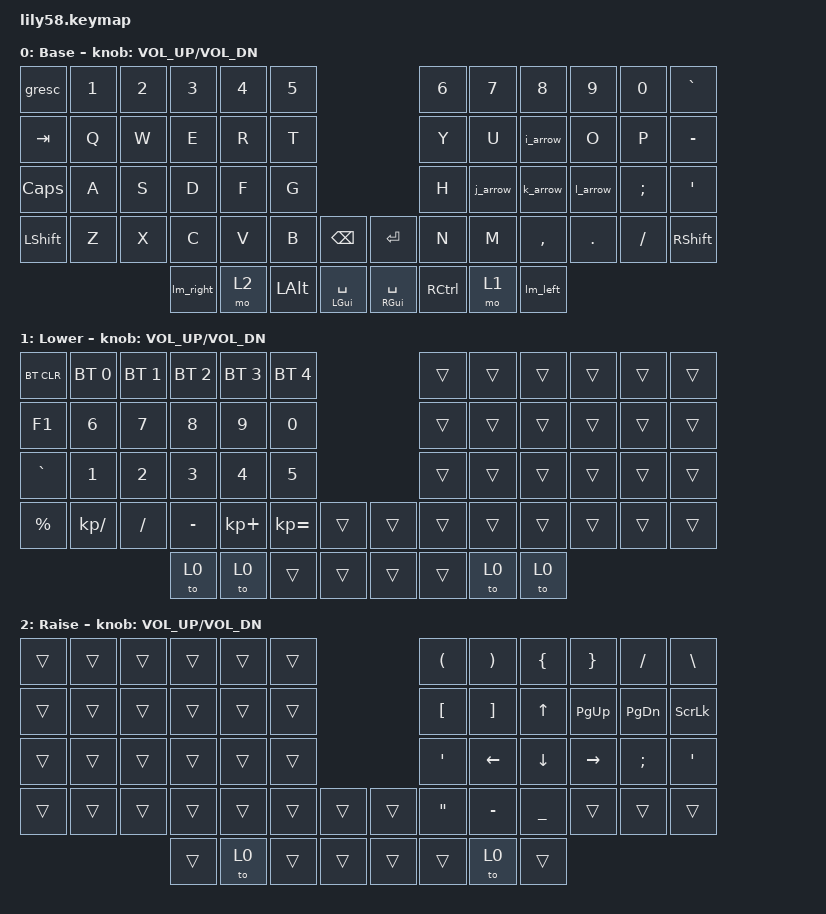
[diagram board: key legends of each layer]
/*
 * Copyright (c) 2020 The ZMK Contributors
 *
 * SPDX-License-Identifier: MIT
 */

#include <behaviors.dtsi>
#include <dt-bindings/zmk/keys.h>
#include <dt-bindings/zmk/bt.h>
#include <dt-bindings/zmk/ext_power.h>

/ {
    behaviors {
        mt_space_gui: mt_space_gui {
            compatible = "zmk,behavior-hold-tap";
            label = "mt_ space_gui";
            bindings = <&kp>, <&kp>;

            #binding-cells = <2>;
            tapping-term-ms = <150>;
            flavor = "tap-preferred";
        };

                j_arrow: behavior-mod-morph-j {
            compatible = "zmk,behavior-mod-morph";
            label = "MM_J_GUI_ALT";
            #binding-cells = <0>;
            mods       = <(MOD_LALT|MOD_LGUI | MOD_RCTL)>;
            keep-mods  = <(MOD_LALT|MOD_LGUI | MOD_RCTL)>;
            bindings   = <&kp J>, <&kp LEFT>;
        };
        k_arrow: behavior-mod-morph-k {
            compatible = "zmk,behavior-mod-morph";
            label = "MM_K_GUI_ALT";
            #binding-cells = <0>;
            mods       = <(MOD_LALT|MOD_LGUI | MOD_RCTL)>;
            keep-mods  = <(MOD_LALT|MOD_LGUI | MOD_RCTL)>;
            bindings   = <&kp K>, <&kp DOWN>;
        };
        l_arrow: behavior-mod-morph-l {
            compatible = "zmk,behavior-mod-morph";
            label = "MM_L_GUI_ALT";
            #binding-cells = <0>;
            mods       = <(MOD_LALT|MOD_LGUI | MOD_RCTL)>;
            keep-mods  = <(MOD_LALT|MOD_LGUI | MOD_RCTL)>;
            bindings   = <&kp L>, <&kp RIGHT>;
        };
        i_arrow: behavior-mod-morph-i {
            compatible = "zmk,behavior-mod-morph";
            label = "MM_I_GUI_ALT";
            #binding-cells = <0>;
            mods       = <(MOD_LALT|MOD_LGUI | MOD_RCTL)>;
            keep-mods  = <(MOD_LALT|MOD_LGUI | MOD_RCTL)>;
            bindings   = <&kp I>, <&kp UP>;
        };
        gresc: grave_escape {
            compatible = "zmk,behavior-mod-morph";
            #binding-cells = <0>;
            bindings = <&kp ESC>, <&kp GRAVE>;
            mods = <(MOD_LGUI|MOD_LSFT|MOD_RGUI|MOD_RSFT)>;
        };
    };
    macros {
        lm_left: lm_left {
            compatible = "zmk,behavior-macro";
            wait-ms = <0>;
            tap-ms = <0>;
            #binding-cells = <0>;
            bindings=
     <&macro_press &mo 1 &kp LSHFT>
                , <&macro_pause_for_release>
    , <&macro_release &mo 1 &kp LSHFT>
                ;
        };
        lm_right: lm_right {
            compatible = "zmk,behavior-macro";
            wait-ms = <0>;
            tap-ms = <0>;
            #binding-cells = <0>;
            bindings=
     <&macro_press &mo 2 &kp LSHFT>
                , <&macro_pause_for_release>
    , <&macro_release &mo 2 &kp LSHFT>
                ;
        };

    };
    keymap {
        compatible = "zmk,keymap";

        default_layer {
// ------------------------------------------------------------------------------------------------------------
// |  ESC  |  1  |  2  |  3   |  4   |  5   |                   |  6   |  7    |  8    |  9   |   0   |   `   |
// |  TAB  |  Q  |  W  |  E   |  R   |  T   |                   |  Y   |  U    |  I    |  O   |   P   |   -   |
// |  CTRL |  A  |  S  |  D   |  F   |  G   |                   |  H   |  J    |  K    |  L   |   ;   |   '   |
// | SHIFT |  Z  |  X  |  C   |  V   |  B   |   "["  |  |  "]"  |  N   |  M    |  ,    |  .   |   /   | SHIFT |
//                     | ALT  | GUI  | LOWER|  SPACE |  | ENTER | RAISE| BSPC  | GUI   |
            display-name = "Base";
            bindings = <
&gresc   &kp N1 &kp N2 &kp N3   &kp N4   &kp N5                     &kp N6 &kp N7   &kp N8    &kp N9  &kp N0   &kp GRAVE
&kp TAB   &kp Q  &kp W  &kp E    &kp R    &kp T                      &kp Y  &kp U    &i_arrow     &kp O   &kp P    &kp MINUS
&kp CAPS &kp A  &kp S  &kp D    &kp F    &kp G                      &kp H  &j_arrow    &k_arrow     &l_arrow   &kp SEMI &kp SQT
&kp LSHFT &kp Z  &kp X  &kp C    &kp V    &kp B  &kp BSPC   &kp RET &kp N  &kp M    &kp COMMA &kp DOT &kp FSLH &kp RSHFT
                            &lm_right &mo 2  &kp LALT  &mt_space_gui LGUI SPACE     &mt_space_gui RGUI SPACE    &kp RCTRL &mo 1  &lm_left
            >;

            sensor-bindings = <&inc_dec_kp C_VOL_UP C_VOL_DN>;
        };

        lower_layer {
// ------------------------------------------------------------------------------------------------------------
// | BTCLR | BT1 | BT2 |  BT3 |  BT4 |  BT5 |                   |      |       |       |      |       |       |
// |  F1   |  F2 |  F3 |  F4  |  F5  |  F6  |                   |  F7  |  F8   |  F9   |  F10 |  F11  |  F12  |
// |   `   |  !  |  @  |  #   |  $   |  %   |                   |  ^   |  &    |  *    |  (   |   )   |   ~   |
// |       |     |     |      |      |      |        |  |       |      |  _    |  +    |  {   |   }   |  "|"  |
//                     |      |      |      |        |  |       |      |       |       |
            display-name = "Lower";
            bindings = <
&bt BT_CLR &bt BT_SEL 0     &bt BT_SEL 1      &bt BT_SEL 2      &bt BT_SEL 3 &bt BT_SEL 4                 &trans    &trans    &trans          &trans    &trans    &trans
&kp F1     &kp N6           &kp N7            &kp N8            &kp N9       &kp N0                     &trans &trans &trans &trans &trans &trans
&kp GRAVE  &kp N1           &kp N2            &kp N3            &kp N4       &kp N5                  &trans  &trans &trans &trans &trans &trans
&kp PRCNT     &kp KP_SLASH     &kp FSLH      &kp MINUS     &kp KP_PLUS  &kp KP_EQUAL       &trans    &trans   &trans    &trans  &trans &trans     &trans &trans 
                                             &to 0           &to 0       &trans    &trans   &trans    &trans    &to 0    &to 0
            >;

            sensor-bindings = <&inc_dec_kp C_VOL_UP C_VOL_DN>;
        };

        raise_layer {
// ------------------------------------------------------------------------------------------------------------
// |       |     |     |      |      |      |                   |      |       |       |      |       |       |
// |   `   |  1  |  2  |  3   |  4   |  5   |                   |  6   |   7   |   8   |  9   |   0   |       |
// |   F1  |  F2 |  F3 |  F4  |  F5  |  F6  |                   |      |   <-  |   v   |  ^    |  ->   |       |
// |   F7  |  F8 |  F9 |  F10 |  F11 |  F12 |        |  |       |  +   |   -   |   =   |  [   |   ]   |   \   |
//                     |      |      |      |        |  |       |      |       |       |
            display-name = "Raise";
            bindings = <
&trans    &trans &trans &trans  &trans  &trans                       &kp LEFT_PARENTHESIS  &kp RPAR        &kp LBRC      &kp RBRC      &kp FSLH   &kp BSLH
&trans    &trans &trans &trans  &trans  &trans                        &kp LBKT              &kp RBKT        &kp UP        &kp PG_UP     &kp PG_DN  &kp SCROLLLOCK
&trans    &trans &trans &trans  &trans  &trans                       &kp SQT               &kp LEFT        &kp DOWN      &kp RIGHT     &kp SEMI   &kp SQT
&trans    &trans &trans &trans  &trans  &trans    &trans   &trans    &kp DOUBLE_QUOTES     &kp MINUS       &kp UNDERSCORE        &trans        &trans     &trans
                        &trans  &to 0  &trans    &trans   &trans    &trans      &to 0    &trans
            >;

            sensor-bindings = <&inc_dec_kp C_VOL_UP C_VOL_DN>;
        };

        extra_1 {
            status = "reserved";
        };

        extra_2 {
            status = "reserved";
        };

        extra_3 {
            status = "reserved";
        };
    };
};
